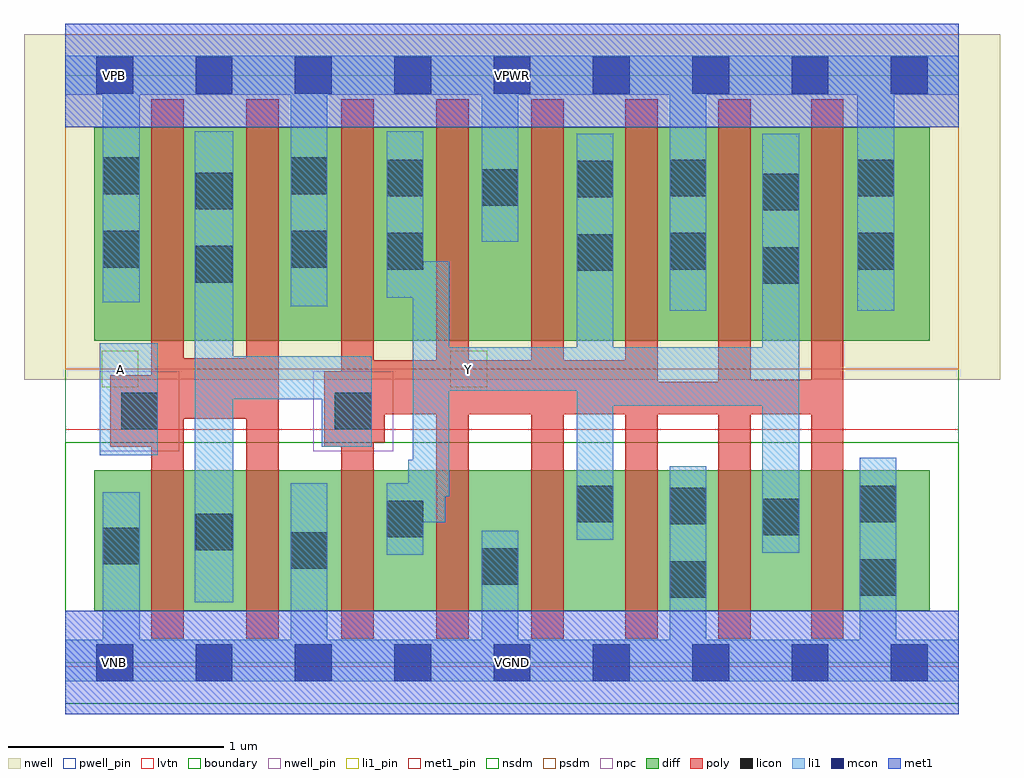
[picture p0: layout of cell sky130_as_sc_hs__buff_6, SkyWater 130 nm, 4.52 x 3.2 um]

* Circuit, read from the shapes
.subckt sky130_as_sc_hs__buff_6 A VGND VNB VPB VPWR Y
XM1 n1 A VGND VNB sky130_fd_pr__nfet_01v8_lvt w=0.65 l=0.15 m=2
XM2 Y n1 VGND VNB sky130_fd_pr__nfet_01v8_lvt w=0.65 l=0.15 m=6
XM3 n1 A VPWR VPB sky130_fd_pr__pfet_01v8 w=0.99 l=0.15 m=2
XM4 Y n1 VPWR VPB sky130_fd_pr__pfet_01v8 w=0.99 l=0.15 m=6
.ends

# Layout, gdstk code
import gdstk
lib = gdstk.Library(unit=1e-6, precision=1e-09)
def R(c, l, rs):  # rectangles x0, y0, x1, y1
    for r in rs: c.add(gdstk.rectangle(r[:2], r[2:], *l))
def A(c, l, x, y, w, h, nx, ny, dx, dy):  # array of equal rectangles
    R(c, l, [(x+i*dx, y+j*dy, x+i*dx+w, y+j*dy+h) for i in range(nx) for j in range(ny)])
nwell_pin = (64, 16)
nwell = (64, 20)
diff = (65, 20)
poly = (66, 20)
licon = (66, 44)
li1_pin = (67, 16)
li1 = (67, 20)
mcon = (67, 44)
met1_pin = (68, 16)
met1 = (68, 20)
nsdm = (93, 44)
psdm = (94, 20)
npc = (95, 20)
pwell_pin = (122, 16)
lvtn = (125, 44)
boundary = (235, 4)

sky130_as_sc_hs__buff_6 = lib.new_cell('sky130_as_sc_hs__buff_6')
R(sky130_as_sc_hs__buff_6, nwell_pin, [(0.145,2.635,0.315,2.805)])
R(sky130_as_sc_hs__buff_6, nwell, [(-0.19,1.31,4.33,2.91)])
R(sky130_as_sc_hs__buff_6, diff, [(0.135,0.24,4.005,0.89), (0.135,1.49,4.005,2.48)])
A(sky130_as_sc_hs__buff_6, poly, 2.595, 0.11, 0.15, 1.04, 3, 1, 0.43, 0)
A(sky130_as_sc_hs__buff_6, poly, 1.28, 1.4, 0.15, 1.21, 3, 1, 0.44, 0)
R(sky130_as_sc_hs__buff_6, poly, [(0.4,0.11,0.55,1), (0.84,0.11,0.99,1.13), (1.28,0.11,1.43,1), (1.72,0.11,1.87,1.15), (2.16,0.11,2.31,1.15), (0.21,1,0.55,1.13), (1.2,1,1.43,1.02), (1.2,1.02,1.48,1.15), (0.21,1.13,0.99,1.33), (1.2,1.15,3.605,1.3), (1.2,1.3,2.745,1.35), (3.025,1.3,3.605,1.31), (3.025,1.31,3.175,2.61), (3.455,1.31,3.605,2.61), (0.4,1.33,0.99,1.41), (1.28,1.35,2.745,1.4), (2.595,1.4,2.745,2.61), (0.4,1.41,0.55,2.61), (0.84,1.41,0.99,2.61)])
R(sky130_as_sc_hs__buff_6, licon, [(2.8,0.3,2.97,0.47), (3.68,0.31,3.85,0.48), (1.93,0.36,2.1,0.53), (1.045,0.435,1.215,0.605), (0.175,0.455,0.345,0.625), (0.605,0.52,0.775,0.69), (1.49,0.58,1.66,0.75), (3.23,0.59,3.4,0.76), (2.8,0.64,2.97,0.81), (2.37,0.65,2.54,0.82), (3.68,0.65,3.85,0.82), (0.26,1.08,0.43,1.25), (1.25,1.08,1.42,1.25), (3.23,1.755,3.4,1.925), (0.605,1.76,0.775,1.93), (2.37,1.815,2.54,1.985), (1.49,1.82,1.66,1.99), (2.8,1.82,2.97,1.99), (3.67,1.82,3.84,1.99), (0.175,1.83,0.345,2), (1.045,1.83,1.215,2), (3.23,2.095,3.4,2.265), (0.605,2.1,0.775,2.27), (1.93,2.115,2.1,2.285), (2.37,2.155,2.54,2.325), (1.49,2.16,1.66,2.33), (2.8,2.16,2.97,2.33), (3.67,2.16,3.84,2.33), (0.175,2.17,0.345,2.34), (1.045,2.17,1.215,2.34)])
R(sky130_as_sc_hs__buff_6, li1_pin, [(0.17,1.275,0.34,1.445), (1.785,1.275,1.955,1.445)])
R(sky130_as_sc_hs__buff_6, li1, [(0,-0.085,4.14,0.105), (0.175,0.105,0.345,0.79), (1.045,0.105,1.215,0.83), (1.93,0.105,2.1,0.61), (2.8,0.105,2.97,0.91), (3.68,0.105,3.85,0.95), (0.6,0.28,0.78,1.22), (1.49,0.5,1.66,0.65), (3.23,0.51,3.4,1.19), (2.37,0.57,2.54,1.19), (1.49,0.65,1.76,0.77), (1.49,0.77,1.78,0.83), (1.59,0.83,1.78,0.94), (1.61,0.94,1.78,1.26), (0.16,0.96,0.43,1.48), (1.19,1,1.42,1.22), (2.37,1.19,3.4,1.26), (0.6,1.22,1.42,1.42), (1.61,1.26,3.4,1.46), (0.6,1.42,0.78,2.46), (1.61,1.46,1.78,1.69), (2.37,1.46,2.54,2.45), (3.23,1.46,3.4,2.45), (2.8,1.63,2.97,2.63), (3.67,1.63,3.84,2.63), (1.045,1.65,1.215,2.63), (0.175,1.67,0.345,2.63), (1.49,1.69,1.78,1.86), (1.49,1.86,1.66,2.46), (1.93,1.95,2.1,2.63), (0,2.63,4.14,2.81)])
A(sky130_as_sc_hs__buff_6, mcon, 0.145, -0.085, 0.17, 0.17, 9, 2, 0.46, 2.72)
R(sky130_as_sc_hs__buff_6, met1_pin, [(0,-0.24,4.14,0.24), (0.145,-0.085,0.315,0.085), (0,2.48,4.14,2.96), (0.145,2.635,0.315,2.805)])
R(sky130_as_sc_hs__buff_6, met1, [(0,-0.24,4.14,0.24), (0,2.48,4.14,2.96)])
R(sky130_as_sc_hs__buff_6, nsdm, [(0,-0.19,4.14,1.02)])
R(sky130_as_sc_hs__buff_6, psdm, [(0,1.36,4.14,2.91)])
R(sky130_as_sc_hs__buff_6, npc, [(0.16,0.98,0.53,1.35), (1.15,0.98,1.52,1.35)])
R(sky130_as_sc_hs__buff_6, pwell_pin, [(0.145,-0.085,0.315,0.085)])
R(sky130_as_sc_hs__buff_6, lvtn, [(0,-0.02,4.14,1.08)])
R(sky130_as_sc_hs__buff_6, boundary, [(0,0,4.14,2.72)])
sky130_as_sc_hs__buff_6.add(gdstk.Label('VNB', (0.23,0), layer=64, texttype=59))
sky130_as_sc_hs__buff_6.add(gdstk.Label('A', (0.255,1.36), layer=67, texttype=5))
sky130_as_sc_hs__buff_6.add(gdstk.Label('Y', (1.87,1.36), layer=67, texttype=5))
sky130_as_sc_hs__buff_6.add(gdstk.Label('VPB', (0.23,2.72), layer=64, texttype=5))
sky130_as_sc_hs__buff_6.add(gdstk.Label('VPB', (0.23,2.72), layer=64, texttype=5))
sky130_as_sc_hs__buff_6.add(gdstk.Label('VPWR', (2.07,2.72), layer=68, texttype=5))
sky130_as_sc_hs__buff_6.add(gdstk.Label('VPWR', (0.23,2.72), layer=68, texttype=5))
sky130_as_sc_hs__buff_6.add(gdstk.Label('VGND', (2.07,0), layer=68, texttype=5))
sky130_as_sc_hs__buff_6.add(gdstk.Label('VGND', (0.23,0), layer=68, texttype=5))
sky130_as_sc_hs__buff_6.add(gdstk.Label('VNB', (0.23,0), layer=64, texttype=59))
sky130_as_sc_hs__buff_6.add(gdstk.Label('A', (0.255,1.36), layer=67, texttype=5))
sky130_as_sc_hs__buff_6.add(gdstk.Label('Y', (1.87,1.36), layer=67, texttype=5))

lib.write_gds('sky130_as_sc_hs__buff_6.gds')
